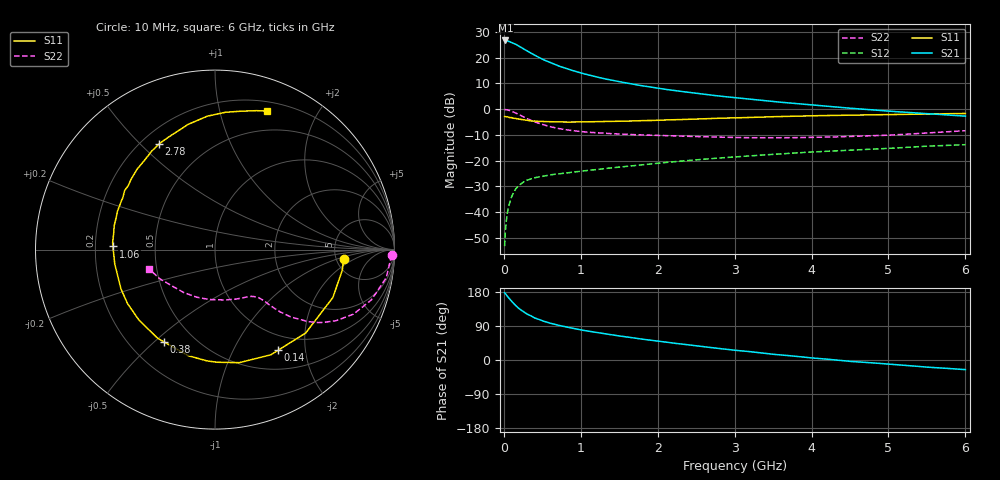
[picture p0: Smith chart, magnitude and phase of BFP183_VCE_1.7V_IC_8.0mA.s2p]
! Infineon Technologies  Discrete & RF Semiconductors
! BFP183
! VCE = 1.7 V,  IC =  8.0 mA
! Common Emitter S-Parameters:  Jan 2016
# GHz  S  MA  R  50
!  f  S11  S21  S12  S22
! GHz  MAG  ANG  MAG  ANG  MAG  ANG  MAG  ANG
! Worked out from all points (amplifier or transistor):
!   210 points, 10 MHz to 6 GHz, reference 50 ohm
!   highest |S21| = 26.6 dB at 20 MHz (marker M1)
!   |S21| within 3 dB of that: start of sweep to 240.1 MHz
!   unconditionally stable (mu >= 1): 1.231 GHz to 5.701 GHz
!   at 185 MHz: K = 0.22, MSG = 27.3 dB, |S12| = -30.0 dB
!   at 1.52 GHz: K = 1.09, MAG = 14.6 dB, |S12| = -22.4 dB
!   at 6 GHz: K = 0.96, MSG = 5.5 dB, |S12| = -13.8 dB
!   S11 on the Smith chart (normalised r, x): 10 MHz: 5.79, -1.32; 140 MHz: 0.76, -1.52; 380 MHz: 0.34, -0.54; 1.06 GHz: 0.27, +0.01; 2.78 GHz: 0.27, +0.57; 6 GHz: 0.29, +1.40
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0.01  0.7181 -4.4  21.34 177.6  0.0022 86.8  0.9863 -1.8
0.02  0.7186 -9.1  21.48 175.2  0.0043 89.9  0.9783 -3.7
0.05  0.7089 -22.1  21.05 167.0  0.0106 81.9  0.9671 -9.3
0.1  0.6865 -42.6  19.69 155.1  0.0198 70.2  0.9155 -17.8
0.14  0.662 -58.0  18.49 146.5  0.0262 63.0  0.8628 -23.5
0.15  0.6636 -62.0  18.27 144.2  0.0278 61.7  0.851 -25.0
0.2  0.6442 -77.9  16.59 135.2  0.0336 56.5  0.7812 -30.5
0.24  0.6277 -89.0  15.21 129.3  0.0373 52.1  0.7287 -33.8
0.3  0.6097 -104.1  13.52 121.4  0.0418 47.7  0.6563 -37.7
0.38  0.5875 -119.0  11.57 113.4  0.0457 43.7  0.5833 -40.7
0.5  0.5777 -137.1  9.285 103.3  0.05 39.7  0.503 -43.7
0.6  0.5727 -148.3  8.04 97.2  0.0531 38.1  0.4575 -44.9
0.8  0.5609 -165.4  6.212 87.4  0.0576 37.3  0.3995 -46.1
1.02  0.5668 -179.6  4.936 78.8  0.0629 37.7  0.3656 -47.6
1.06  0.5689 178.2  4.769 77.4  0.064 37.8  0.361 -47.9
1.5  0.584 158.5  3.408 63.4  0.075 39.0  0.3288 -52.4
2.02  0.611 139.5  2.517 49.4  0.0898 39.1  0.3093 -60.6
2.78  0.6654 117.9  1.81 30.6  0.1121 36.7  0.288 -77.0
3.1  0.6832 110.3  1.614 23.9  0.1212 35.4  0.2806 -85.2
4.1  0.748 91.7  1.174 3.9  0.1499 29.4  0.2849 -114.1
5.1  0.7877 78.4  0.894 -12.3  0.1766 23.6  0.3183 -142.1
6  0.8244 69.4  0.732 -25.4  0.2046 15.8  0.3817 -163.2
